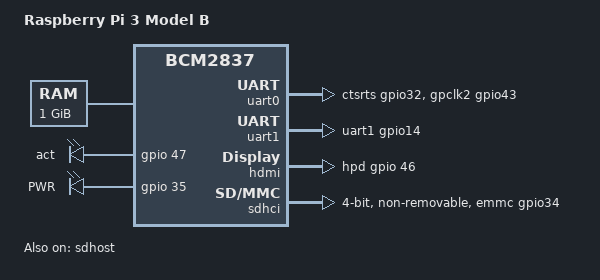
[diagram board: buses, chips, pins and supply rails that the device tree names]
/dts-v1/;
#include "bcm2837.dtsi"
#include "../../../../arm/boot/dts/bcm2835-rpi.dtsi"
#include "../../../../arm/boot/dts/bcm283x-rpi-smsc9514.dtsi"

/ {
	compatible = "raspberrypi,3-model-b", "brcm,bcm2837";
	model = "Raspberry Pi 3 Model B";

	memory {
		reg = <0 0x40000000>;
	};

	leds {
		act {
			gpios = <&gpio 47 0>;
		};

		pwr {
			label = "PWR";
			gpios = <&gpio 35 0>;
			default-state = "keep";
			linux,default-trigger = "default-on";
		};
	};
};

/* uart0 communicates with the BT module */
&uart0 {
	pinctrl-names = "default";
	pinctrl-0 = <&uart0_ctsrts_gpio32 &gpclk2_gpio43>;
};

/* uart1 is mapped to the pin header */
&uart1 {
	pinctrl-names = "default";
	pinctrl-0 = <&uart1_gpio14>;
	status = "okay";
};

&hdmi {
	hpd-gpios = <&gpio 46 GPIO_ACTIVE_HIGH>;
};

/* SDHCI is used to control the SDIO for wireless */
&sdhci {
	pinctrl-names = "default";
	pinctrl-0 = <&emmc_gpio34>;
	status = "okay";
	bus-width = <4>;
	non-removable;
};

/* SDHOST is used to drive the SD card */
&sdhost {
	pinctrl-names = "default";
	pinctrl-0 = <&sdhost_gpio48>;
	status = "okay";
	bus-width = <4>;
};
